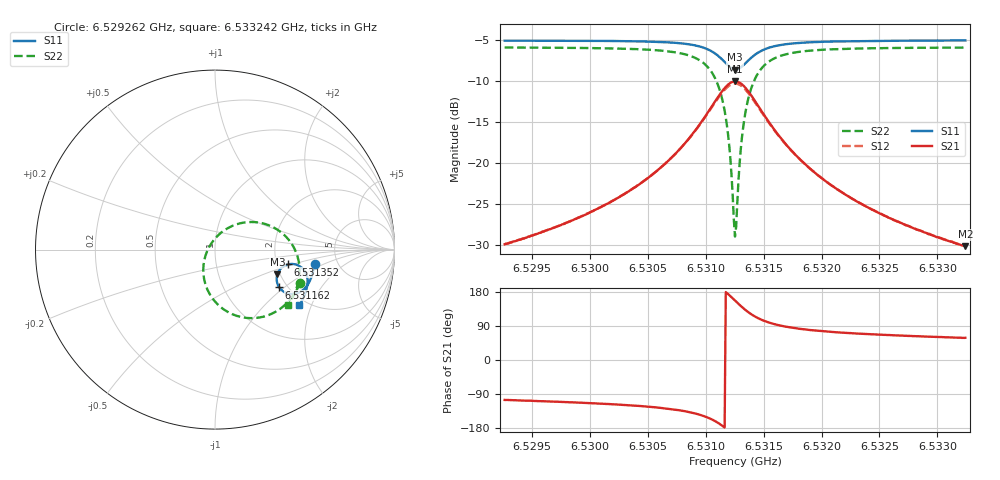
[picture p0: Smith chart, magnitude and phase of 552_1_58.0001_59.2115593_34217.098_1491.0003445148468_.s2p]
#  HZ  S  RI  R  50.00
! Rohde & Schwarz Vector Network Analyzer
! Rohde-Schwarz,ZNB20-2Port,1311601062101988,3.16
! Created: UTC 3/21/2024, 1:15:02 AM
! freq[Hz]  re:S11  im:S11  re:S21  im:S21  re:S12  im:S12  re:S22  im:S22
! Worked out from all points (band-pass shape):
!   401 points, 6.529262 GHz to 6.533242 GHz, reference 50 ohm
!   highest |S21| = -9.99 dB at 6.531252 GHz (marker M1); lowest = -30.1 dB at 6.533242 GHz (marker M2)
!   |S21| within 3 dB of the highest: 6.531055 GHz to 6.531452 GHz (397.6 kHz wide, 0.00609 % of centre)
!   lowest |S11| = -8.5 dB at 6.531252 GHz (marker M3), VSWR 2.19, Z = 96.7 - j31 ohm
!   |S11| at or under -10 dB: nowhere
!   |S22| runs from -28.9 to -5.9 dB; largest |S21 - S12| = 0.013
!   S11 on the Smith chart (normalised r, x): 6.529262 GHz: 3.37, -0.76; 6.531162 GHz: 1.81, -0.92; 6.531352 GHz: 2.30, -0.46; 6.533242 GHz: 1.82, -1.64
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6.5292617e9  0.5555 -0.0775  -0.0085 -0.031  -0.00918 -0.0308  0.4739 -0.1863
6.5299285e9  0.5436 -0.1332  -0.0184 -0.0439  -0.0195 -0.0435  0.4412 -0.2478
6.5305952e9  0.5133 -0.2001  -0.0541 -0.0749  -0.056 -0.0733  0.3562 -0.3348
6.5308241e9  0.485 -0.2293  -0.0954 -0.0938  -0.0981 -0.0904  0.2731 -0.373
6.5309933e9  0.4397 -0.2473  -0.1655 -0.0988  -0.1676 -0.0921  0.1443 -0.3753
6.5310928e9  0.3936 -0.2403  -0.2365 -0.07  -0.2351 -0.0601  0.0258 -0.3151
6.5311625e9  0.3583 -0.2109  -0.2879 -0.00855  -0.2813 0.00138  -0.05 -0.2034
6.5312023e9  0.3456 -0.1815  -0.3031 0.0463  -0.2934 0.0542  -0.0653 -0.1102
6.5312321e9  0.3439 -0.1556  -0.3007 0.0927  -0.2894 0.098  -0.0534 -0.0345
6.5312421e9  0.3453 -0.1467  -0.2967 0.1084  -0.2853 0.1126  -0.0442 -0.00958
6.531252e9  0.3476 -0.138  -0.2914 0.1238  -0.2799 0.1268  -0.0329 0.014
6.531262e9  0.3508 -0.1297  -0.2846 0.1383  -0.2729 0.1403  -0.019 0.0366
6.5312719e9  0.3548 -0.1217  -0.2761 0.152  -0.2649 0.153  -0.00323 0.0577
6.5312918e9  0.3651 -0.1075  -0.2559 0.1765  -0.2455 0.1756  0.0337 0.0941
6.5313117e9  0.3776 -0.096  -0.2325 0.1959  -0.223 0.1936  0.0755 0.1219
6.5313516e9  0.4061 -0.0827  -0.1815 0.2186  -0.1747 0.215  0.1629 0.151
6.5314212e9  0.4508 -0.0832  -0.1037 0.2189  -0.1002 0.2156  0.2931 0.1381
6.5315207e9  0.4895 -0.1066  -0.0374 0.1855  -0.0358 0.1836  0.3999 0.0671
6.53167e9  0.5111 -0.1439  0.00185 0.1364  0.00303 0.1357  0.4575 -0.0314
6.5319188e9  0.5158 -0.188  0.0179 0.0888  0.019 0.0885  0.4707 -0.1309
6.5325855e9  0.4968 -0.2583  0.019 0.0424  0.0199 0.0421  0.441 -0.2472
6.5332423e9  0.4707 -0.3078  0.0163 0.0267  0.0169 0.0264  0.4064 -0.306
